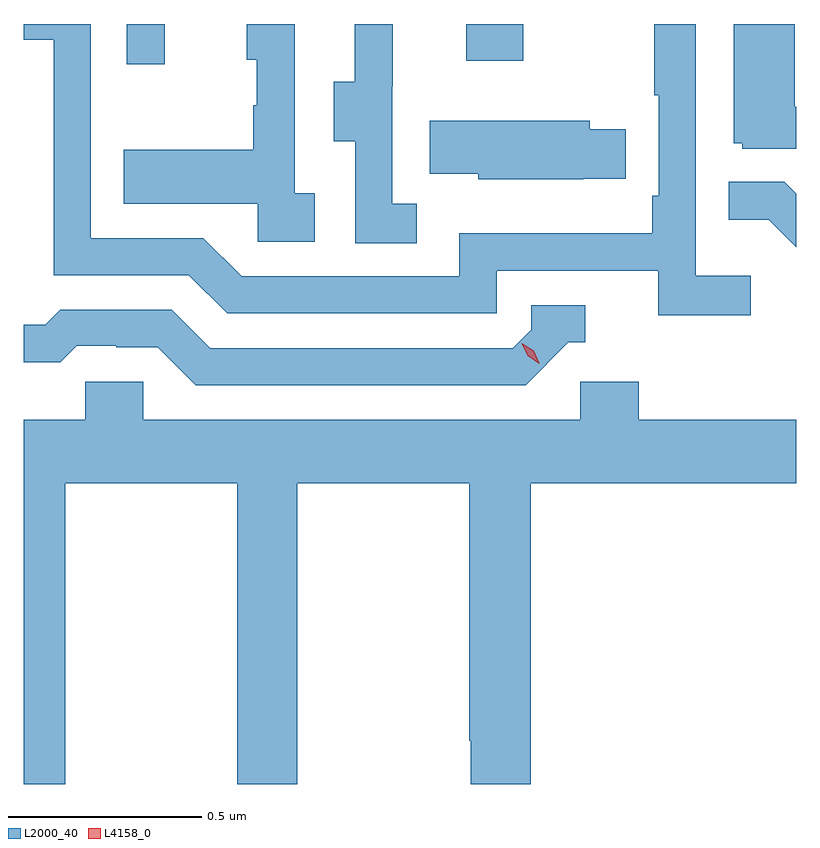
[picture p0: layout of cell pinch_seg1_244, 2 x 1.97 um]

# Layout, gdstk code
import gdstk
lib = gdstk.Library(unit=1e-6, precision=1e-09)
def R(c, l, rs):  # rectangles x0, y0, x1, y1
    for r in rs: c.add(gdstk.rectangle(r[:2], r[2:], *l))
def P(c, l, *ps):  # polygons
    for p in ps: c.add(gdstk.Polygon(p, *l))
L2000_40 = (2000, 40)
L4158_0 = (4158, 0)

pinch_seg1_244 = lib.new_cell('pinch_seg1_244')
R(pinch_seg1_244, L2000_40, [(946.545,568.8,946.643,568.904), (947.423,568.809,947.571,568.904)])
P(pinch_seg1_244, L2000_40, [(948.278,568.69),(948.274,568.69),(948.274,568.904),(948.116,568.904),(948.116,568.596),(948.138,568.596),(948.138,568.581),(948.278,568.581)],
  [(947.296,568.439),(947.232,568.439),(947.232,568.743),(947.234,568.743),(947.234,568.904),(947.135,568.904),(947.135,568.755),(947.081,568.755),(947.081,568.6),(947.136,568.6),(947.136,568.336),(947.296,568.336)],
  [(948.16,568.252),(948.018,568.252),(948.018,568.904),(947.91,568.904),(947.91,568.72),(947.922,568.72),(947.922,568.459),(947.905,568.459),(947.905,568.363),(947.406,568.363),(947.406,568.251),(946.842,568.251),(946.743,568.35),(946.452,568.35),(946.452,568.904),(946.278,568.904),(946.278,568.863),(946.356,568.863),(946.356,568.254),(946.706,568.254),(946.805,568.155),(947.502,568.155),(947.502,568.266),(947.921,568.266),(947.921,568.15),(948.16,568.15)],
  [(947.032,568.466),(946.98,568.466),(946.98,568.904),(946.856,568.904),(946.856,568.812),(946.882,568.812),(946.882,568.694),(946.872,568.694),(946.872,568.579),(946.537,568.579),(946.537,568.439),(946.884,568.439),(946.884,568.341),(947.032,568.341)],
  [(947.726,568.503),(947.837,568.503),(947.837,568.632),(947.743,568.632),(947.743,568.654),(947.329,568.654),(947.329,568.517),(947.454,568.517),(947.454,568.502),(947.726,568.502)],
  [(948.278,568.465),(948.247,568.496),(948.103,568.496),(948.103,568.397),(948.207,568.397),(948.278,568.326)],
  [(947.688,568.08),(947.731,568.08),(947.731,568.176),(947.592,568.176),(947.592,568.113),(947.544,568.065),(946.761,568.065),(946.662,568.164),(946.373,568.164),(946.334,568.125),(946.278,568.125),(946.278,568.029),(946.373,568.029),(946.415,568.071),(946.518,568.071),(946.518,568.068),(946.625,568.068),(946.724,567.969),(947.577,567.969)],
  [(946.386,567.716),(946.831,567.716),(946.831,566.937),(946.986,566.937),(946.986,567.716),(947.431,567.716),(947.431,567.049),(947.435,567.049),(947.435,566.937),(947.591,566.937),(947.591,567.716),(948.278,567.716),(948.278,567.88),(947.87,567.88),(947.87,567.978),(947.718,567.978),(947.718,567.88),(946.587,567.88),(946.587,567.978),(946.437,567.978),(946.437,567.88),(946.278,567.88),(946.278,566.937),(946.386,566.937)])
P(pinch_seg1_244, L4158_0, [(947.613,568.025),(947.583,568.045),(947.567,568.078),(947.567,568.078),(947.567,568.078),(947.598,568.058),(947.613,568.026),(947.613,568.025)])

lib.write_gds('pinch_seg1_244.gds')
